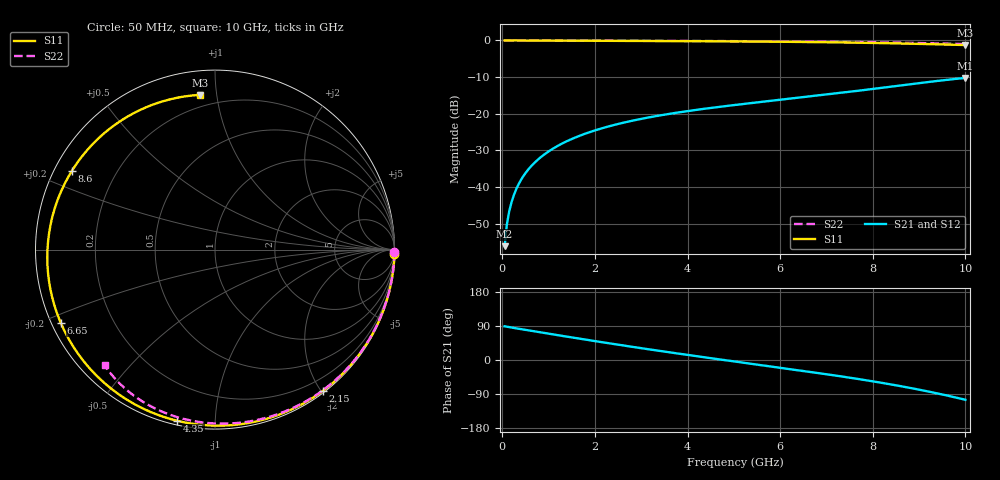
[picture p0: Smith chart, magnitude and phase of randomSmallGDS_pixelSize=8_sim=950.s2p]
! freq	dB(S11)	phase(S11)	dB(S12)	phase(S12)
!  dB(S21)	phase(S21)	dB(S22)	phase(S22)
!S-par simulation data
#  GHz  S  DB  R 50
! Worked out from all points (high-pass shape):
!   200 points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, 50 MHz to 10 GHz, reference 50 ohm
!   highest |S21| = -10.22 dB at 10 GHz (marker M1); lowest = -56.1 dB at 50 MHz (marker M2)
!   |S21| within 3 dB of the highest: 8.003 GHz to end of sweep
!   lowest |S11| = -1.3 dB at 10 GHz (marker M3), VSWR 13.91, Z = 6.54 + j45.1 ohm
!   |S11| at or under -10 dB: nowhere
!   |S22| runs from -1.0 to 0.0 dB; largest |S21 - S12| = 0
!   S11 on the Smith chart (normalised r, x): 50 MHz: 0, -91; 2.15 GHz: 0.02, -2.02; 4.35 GHz: 0.02, -0.80; 6.65 GHz: 0.03, -0.23; 8.6 GHz: 0.05, +0.26; 10 GHz: 0.13, +0.90
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0.05  -0.00 -1.3  -56.09 88.9  -56.09 88.9  -0.00 -0.8
0.1  -0.00 -2.5  -50.08 87.8  -50.08 87.8  -0.00 -1.6
0.2  -0.00 -5.0  -44.08 85.7  -44.08 85.7  -0.00 -3.2
0.35  -0.01 -8.8  -39.25 82.6  -39.25 82.6  -0.00 -5.5
0.5  -0.01 -12.5  -36.18 79.5  -36.18 79.5  -0.01 -7.9
0.7  -0.02 -17.5  -33.29 75.5  -33.29 75.5  -0.01 -11.0
1  -0.03 -24.9  -30.26 69.5  -30.26 69.5  -0.02 -15.6
1.75  -0.07 -43.1  -25.60 54.7  -25.60 54.7  -0.05 -27.1
2.15  -0.08 -52.6  -23.95 47.0  -23.95 47.0  -0.06 -33.2
2.8  -0.12 -67.8  -21.90 34.9  -21.90 34.9  -0.08 -42.8
3.4  -0.15 -81.4  -20.45 24.0  -20.45 24.0  -0.11 -51.5
4.35  -0.21 -102.6  -18.65 7.4  -18.65 7.4  -0.15 -64.8
5.05  -0.26 -118.0  -17.55 -4.4  -17.55 -4.4  -0.19 -74.3
5.85  -0.33 -135.9  -16.39 -17.8  -16.39 -17.8  -0.24 -84.7
6.65  -0.43 -154.5  -15.25 -31.3  -15.25 -31.3  -0.31 -94.9
6.7  -0.44 -155.7  -15.18 -32.2  -15.18 -32.2  -0.32 -95.5
7.55  -0.58 -177.4  -13.92 -47.5  -13.92 -47.5  -0.42 -105.9
8.35  -0.76 159.2  -12.67 -63.5  -12.67 -63.5  -0.56 -115.3
8.6  -0.82 151.1  -12.27 -69.0  -12.27 -69.0  -0.61 -118.2
9.3  -1.03 125.6  -11.18 -85.7  -11.18 -85.7  -0.78 -126.1
9.65  -1.14 111.1  -10.67 -95.0  -10.67 -95.0  -0.89 -129.9
10  -1.25 95.4  -10.22 -105.0  -10.22 -105.0  -1.00 -133.6
